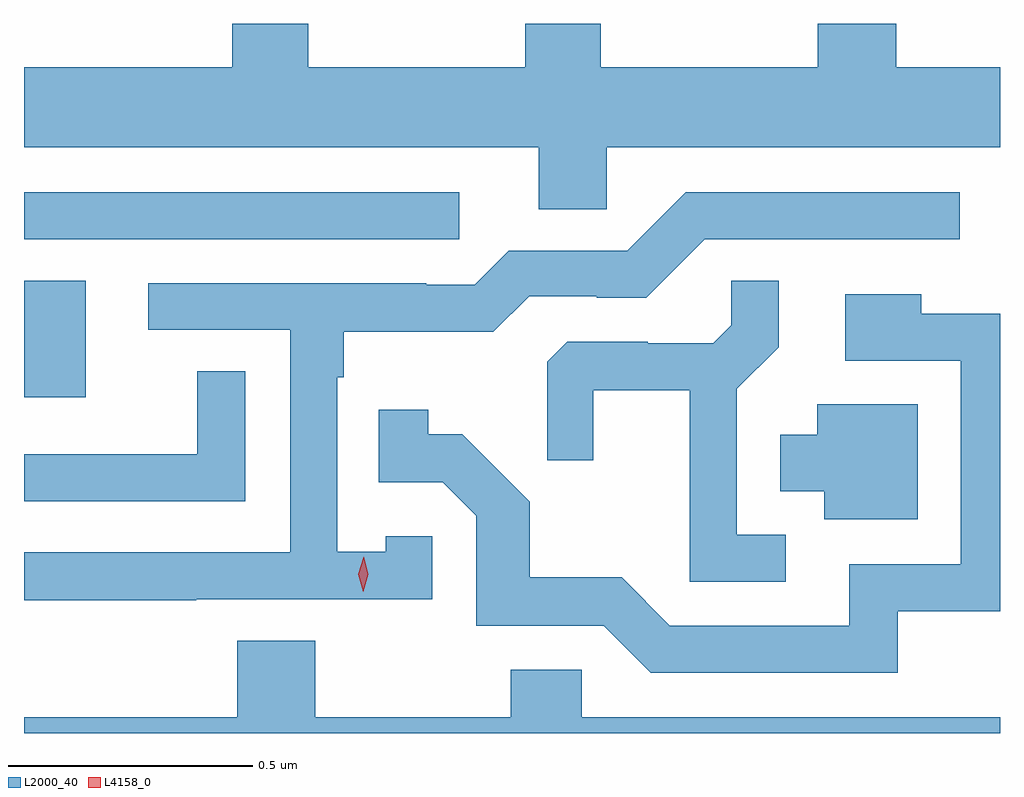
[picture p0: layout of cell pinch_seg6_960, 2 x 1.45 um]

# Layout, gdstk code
import gdstk
lib = gdstk.Library(unit=1e-6, precision=1e-09)
def R(c, l, rs):  # rectangles x0, y0, x1, y1
    for r in rs: c.add(gdstk.rectangle(r[:2], r[2:], *l))
def P(c, l, *ps):  # polygons
    for p in ps: c.add(gdstk.Polygon(p, *l))
L2000_40 = (2000, 40)
L4158_0 = (4158, 0)

pinch_seg6_960 = lib.new_cell('pinch_seg6_960')
R(pinch_seg6_960, L2000_40, [(338.19,916.188,338.317,916.427), (338.19,916.512,339.082,916.608)])
P(pinch_seg6_960, L2000_40, [(339.384,916.7),(340.19,916.7),(340.19,916.864),(339.977,916.864),(339.977,916.953),(339.817,916.953),(339.817,916.864),(339.372,916.864),(339.372,916.953),(339.217,916.953),(339.217,916.864),(338.772,916.864),(338.772,916.953),(338.617,916.953),(338.617,916.864),(338.19,916.864),(338.19,916.7),(339.245,916.7),(339.245,916.573),(339.384,916.573)],
  [(338.543,915.774),(339.027,915.774),(339.027,915.903),(338.931,915.903),(338.931,915.871),(338.832,915.871),(338.832,916.229),(338.845,916.229),(338.845,916.322),(339.152,916.322),(339.225,916.395),(339.364,916.395),(339.364,916.392),(339.465,916.392),(339.585,916.512),(340.108,916.512),(340.108,916.608),(339.546,916.608),(339.426,916.488),(339.183,916.488),(339.114,916.419),(339.014,916.419),(339.014,916.422),(338.445,916.422),(338.445,916.326),(338.736,916.326),(338.736,915.87),(338.19,915.87),(338.19,915.772),(338.543,915.772)],
  [(339.751,915.906),(339.651,915.906),(339.651,916.205),(339.737,916.291),(339.737,916.427),(339.639,916.427),(339.639,916.336),(339.602,916.299),(339.468,916.299),(339.468,916.302),(339.303,916.302),(339.262,916.261),(339.262,916.059),(339.356,916.059),(339.356,916.202),(339.554,916.202),(339.554,915.81),(339.751,915.81)],
  [(339.98,915.75),(340.19,915.75),(340.19,916.359),(340.029,916.359),(340.029,916.399),(339.873,916.399),(339.873,916.263),(340.11,916.263),(340.11,915.846),(339.881,915.846),(339.881,915.72),(339.513,915.72),(339.415,915.819),(339.226,915.819),(339.226,915.974),(339.088,916.112),(339.018,916.112),(339.018,916.162),(338.917,916.162),(338.917,916.014),(339.048,916.014),(339.117,915.945),(339.117,915.72),(339.378,915.72),(339.474,915.624),(339.98,915.624)],
  [(338.643,916.241),(338.545,916.241),(338.545,916.071),(338.19,916.071),(338.19,915.975),(338.643,915.975)],
  [(340.021,916.174),(339.815,916.174),(339.815,916.111),(339.74,916.111),(339.74,915.995),(339.83,915.995),(339.83,915.938),(340.021,915.938)],
  [(340.19,915.532),(339.333,915.532),(339.333,915.63),(339.187,915.63),(339.187,915.532),(338.787,915.532),(338.787,915.689),(338.627,915.689),(338.627,915.532),(338.19,915.532),(338.19,915.5),(340.19,915.5)])
P(pinch_seg6_960, L4158_0, [(338.885,915.789),(338.885,915.789),(338.875,915.825),(338.886,915.861),(338.886,915.861),(338.886,915.861),(338.895,915.825),(338.885,915.789)])

lib.write_gds('pinch_seg6_960.gds')
